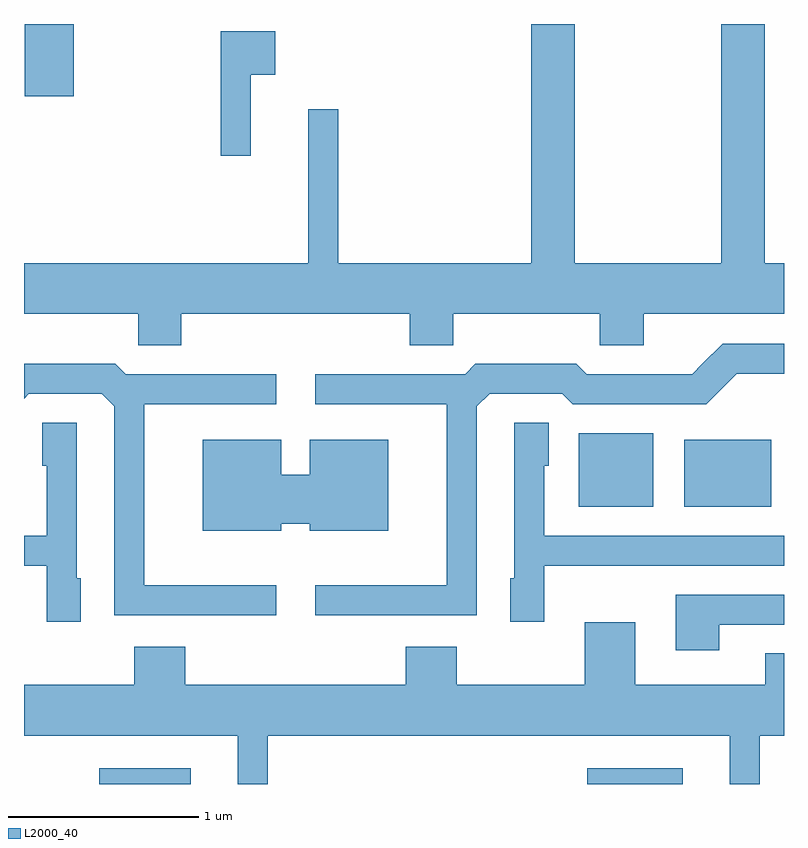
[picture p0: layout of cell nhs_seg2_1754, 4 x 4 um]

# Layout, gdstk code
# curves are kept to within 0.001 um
import gdstk
lib = gdstk.Library(unit=1e-6, precision=1e-09)
def R(c, l, rs):  # rectangles x0, y0, x1, y1
    for r in rs: c.add(gdstk.rectangle(r[:2], r[2:], *l))
def P(c, l, *ps):  # polygons
    for p in ps: c.add(gdstk.Polygon(p, *l))
L2000_40 = (2000, 40)

nhs_seg2_1754 = lib.new_cell('nhs_seg2_1754')
R(nhs_seg2_1754, L2000_40, [(236.006,1085.802,236.489,1085.884), (238.576,1085.802,239.079,1085.884), (238.531,1087.261,238.924,1087.649), (239.086,1087.261,239.544,1087.614), (235.616,1089.421,235.874,1089.802)])
P(nhs_seg2_1754, L2000_40, [(236.439,1088.276),(237.641,1088.276),(237.641,1088.111),(237.869,1088.111),(237.869,1088.276),(238.641,1088.276),(238.641,1088.111),(238.874,1088.111),(238.874,1088.276),(239.611,1088.276),(239.611,1088.544),(239.509,1088.544),(239.509,1089.802),(239.281,1089.802),(239.281,1088.544),(238.509,1088.544),(238.509,1089.802),(238.281,1089.802),(238.281,1088.544),(237.264,1088.544),(237.264,1089.353),(237.106,1089.353),(237.106,1088.544),(235.611,1088.544),(235.611,1088.276),(236.211,1088.276),(236.211,1088.111),(236.439,1088.111)],
  [(236.804,1089.536),(236.934,1089.536),(236.934,1089.764),(236.646,1089.764),(236.646,1089.108),(236.804,1089.108)],
  [(237.994,1087.789),(238.062,1087.856),(238.444,1087.856),(238.499,1087.801),(239.202,1087.801),(239.362,1087.961),(239.611,1087.961),(239.611,1088.119),(239.289,1088.119),(239.129,1087.959),(238.572,1087.959),(238.517,1088.014),(237.989,1088.014),(237.934,1087.959),(237.143,1087.959),(237.143,1087.801),(237.836,1087.801),(237.836,1086.849),(237.143,1086.849),(237.143,1086.691),(237.994,1086.691)],
  [(236.938,1086.849),(236.244,1086.849),(236.244,1087.801),(236.938,1087.801),(236.938,1087.959),(236.147,1087.959),(236.092,1088.014),(235.611,1088.014),(235.611,1087.83),(235.637,1087.856),(236.019,1087.856),(236.086,1087.789),(236.086,1086.691),(236.938,1086.691)],
  [(238.349,1086.951),(239.611,1086.951),(239.611,1087.109),(238.349,1087.109),(238.349,1087.476),(238.374,1087.476),(238.374,1087.704),(238.191,1087.704),(238.191,1086.884),(238.171,1086.884),(238.171,1086.656),(238.349,1086.656)],
  [(235.909,1086.884),(235.889,1086.884),(235.889,1087.704),(235.706,1087.704),(235.706,1087.476),(235.731,1087.476),(235.731,1087.109),(235.611,1087.109),(235.611,1086.951),(235.731,1086.951),(235.731,1086.656),(235.909,1086.656)],
  [(236.964,1087.171),(237.116,1087.171),(237.116,1087.136),(237.529,1087.136),(237.529,1087.614),(237.116,1087.614),(237.116,1087.429),(236.964,1087.429),(236.964,1087.614),(236.551,1087.614),(236.551,1087.136),(236.964,1087.136)],
  [(239.269,1086.641),(239.611,1086.641),(239.611,1086.799),(239.041,1086.799),(239.041,1086.506),(239.269,1086.506)],
  [(236.894,1086.056),(239.326,1086.056),(239.326,1085.802),(239.484,1085.802),(239.484,1086.056),(239.611,1086.056),(239.611,1086.489),(239.511,1086.489),(239.511,1086.324),(238.829,1086.324),(238.829,1086.654),(238.561,1086.654),(238.561,1086.324),(237.889,1086.324),(237.889,1086.524),(237.621,1086.524),(237.621,1086.324),(236.459,1086.324),(236.459,1086.524),(236.191,1086.524),(236.191,1086.324),(235.611,1086.324),(235.611,1086.056),(236.736,1086.056),(236.736,1085.802),(236.894,1085.802)])

lib.write_gds('nhs_seg2_1754.gds')
